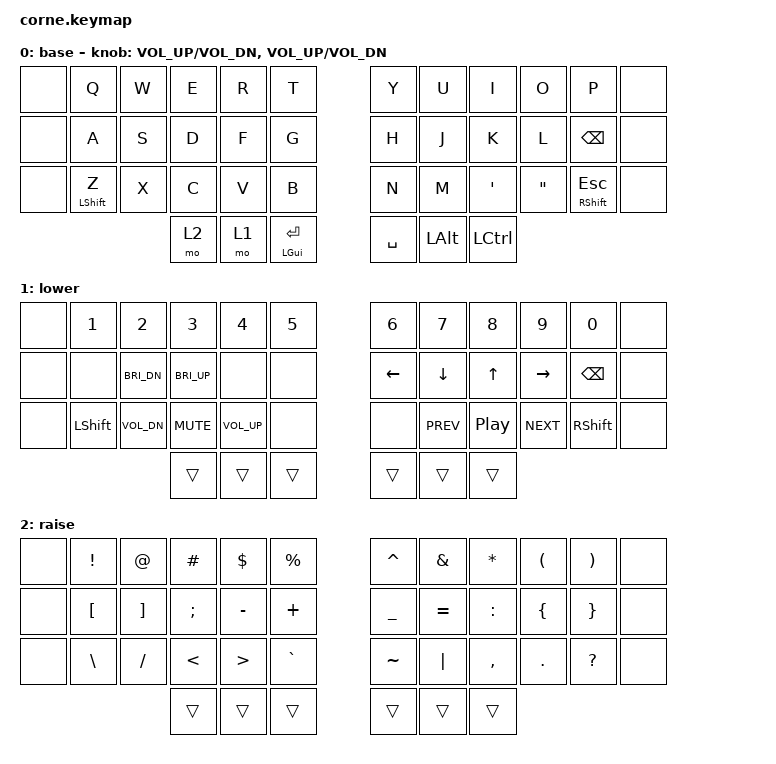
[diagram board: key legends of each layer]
#include <behaviors.dtsi>
#include <dt-bindings/zmk/bt.h>
#include <dt-bindings/zmk/keys.h>

&mt {
    tapping-term-ms = <200>;
    quick-tap-ms = <175>;
    require-prior-idle-ms = <150>;
    flavor = "balanced";
};

&lt { tapping-term-ms = <200>; };

/ {
    combos {
        compatible = "zmk,combos";



        tab {
            bindings = <&kp TAB>;
            key-positions = <15 16>; // D and F 
        };


        resetl {
            bindings = <&sys_reset>;
            key-positions = <13 14 15 16>; // A, S, D, F
            timeout-ms = <200>;
        };

        resetr {
            bindings = <&sys_reset>;
            key-positions = <19 20 21 22>; // J, K, L, ;
            timeout-ms = <200>;
        };
    };

    keymap {
        compatible = "zmk,keymap";

        default_layer {
            display-name = "base";
            sensor-bindings = <&inc_dec_kp C_VOL_UP C_VOL_DN &inc_dec_kp C_VOL_UP C_VOL_DN>;

            bindings = <
&none  &kp Q             &kp W              &kp E      &kp R         &kp T          &kp Y      &kp U      &kp I      &kp O               &kp P               &none
&none  &kp A             &kp S              &kp D      &kp F         &kp G          &kp H      &kp J      &kp K      &kp L               &kp BSPC  &none
&none  &mt LEFT_SHIFT Z  &kp X              &kp C      &kp V         &kp B          &kp N      &kp M      &kp SQT    &kp DQT             &mt RIGHT_SHIFT ESC            &none
                                            &mo 2  &mo 1  &mt LEFT_GUI ENTER &kp SPACE  &kp LEFT_ALT     &kp LEFT_CONTROL
            >;
        };

        lower_layer {
            display-name = "lower";
            bindings = <
&none  &kp N1          &kp N2        &kp N3        &kp N4       &kp N5          &kp N6      &kp N7      &kp N8    &kp N9     &kp N0           &none  
&none  &none           &kp C_BRI_DN  &kp C_BRI_UP  &none        &none           &kp LEFT    &kp DOWN    &kp UP    &kp RIGHT  &kp BSPC            &none
&none  &kp LEFT_SHIFT  &kp C_VOL_DN  &kp C_MUTE    &kp C_VOL_UP &none           &none       &kp C_PREV  &kp C_PP  &kp C_NEXT &kp RIGHT_SHIFT  &none
                                           &trans  &trans &trans             &trans     &trans           &trans
            >;
        };

        raise_layer {
            display-name = "raise";
            bindings = <
&none  &kp EXCL      &kp AT      &kp HASH      &kp DLLR    &kp PRCNT             &kp CARET    &kp AMPS    &kp ASTRK     &kp LPAR      &kp RPAR &none
&none  &kp LBKT      &kp RBKT    &kp SEMI      &kp MINUS   &kp PLUS              &kp UNDER    &kp EQUAL   &kp COLON     &kp LBRC      &kp RBRC &none
&none  &kp BSLH      &kp FSLH    &kp LT        &kp GT      &kp GRAVE             &kp TILDE    &kp PIPE    &kp COMMA     &kp DOT       &kp QMARK &none
                                           &trans  &trans &trans             &trans     &trans            &trans
            >;
        };
        
        extra_layer0 {
            display-name = "extra_layer0";
            status = "reserved";
        };

        extra_layer1 {
            display-name = "extra_layer1";
            status = "reserved";
        };

        extra_layer2 {
            display-name = "extra_layer2";
            status = "reserved";
        };
    };
};
